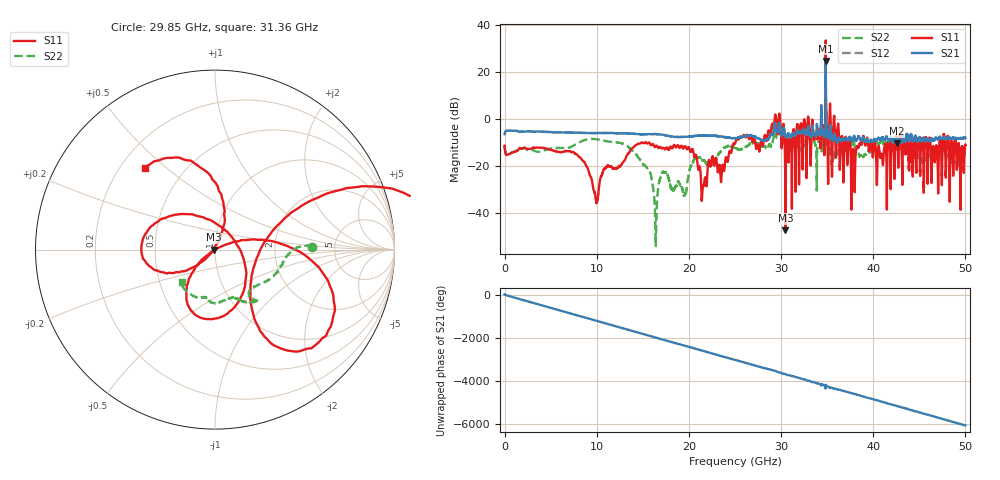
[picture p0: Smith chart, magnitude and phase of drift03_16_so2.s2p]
!Created with skrf (http://scikit-rf.org).
# Hz S RI R 50.0
!freq ReS11 ImS11 ReS21 ImS21 ReS12 ImS12 ReS22 ImS22
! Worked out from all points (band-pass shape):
!   10001 points, 300 kHz to 50 GHz, reference 50 ohm
!   highest |S21| = 24.62 dB at 34.85 GHz (marker M1); lowest = -10.4 dB at 42.55 GHz (marker M2)
!   |S21| within 3 dB of the highest: 34.84371 GHz to 34.84647 GHz (2.753 MHz wide, 0.0079 % of centre)
!   lowest |S11| = -47.5 dB at 30.47 GHz (marker M3), VSWR 1.01, Z = 49.6 - j0.121 ohm
!   |S11| at or under -10 dB: start of sweep to 15.22 GHz; 15.33 GHz to 25.05 GHz (9.727 GHz wide, 48.2 % of centre); 40.22 GHz to 41.64 GHz (1.423 GHz wide, 3.48 % of centre) (the widest 3 of 54)
!   |S22| runs from -54.3 to 15.9 dB; largest |S21 - S12| = 2.5
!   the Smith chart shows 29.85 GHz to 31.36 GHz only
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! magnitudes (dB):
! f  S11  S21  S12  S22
! 300 kHz  -11.5  -6.5  -6.5  -11.4
! 8.335 GHz  -17.1  -6.0  -6.0  -9.6
! 9.955 GHz  -35.5  -6.1  -6.1  -8.7
! 10.99 GHz  -20.8  -6.0  -6.1  -9.5
! 15.52 GHz  -10.5  -6.6  -6.6  -21.4
! 16.37 GHz  -11.9  -6.5  -6.5  -46.9
! 16.67 GHz  -12.4  -6.6  -6.5  -29.3
! 17.32 GHz  -12.6  -6.9  -6.9  -22.8
! 19.54 GHz  -11.7  -7.7  -7.7  -32.4
! 20.22 GHz  -13.9  -7.5  -7.5  -20.1
! 21.55 GHz  -28.5  -7.2  -7.2  -17.8
! 25 GHz  -10.6  -8.3  -8.2  -12.5
! 29.6 GHz  -5.5  -5.7  -5.9  -7.9
! 30.47 GHz  -47.5  -7.2  -7.2  -9.1
! 33.34 GHz  -3.8  -6.8  -6.8  -9.4
! 34.85 GHz  33.4  24.6  24.5  15.9
! 35.63 GHz  -6.6  -9.2  -9.1  -16.0
! 37.82 GHz  -12.9  -8.4  -8.4  -10.0
! 38.81 GHz  -9.5  -8.4  -8.4  -16.2
! 41.67 GHz  -9.7  -9.5  -9.5  -11.7
! 42.55 GHz  -8.5  -10.4  -10.4  -13.1
! 50 GHz  -11.1  -8.1  -8.2  -15.4
